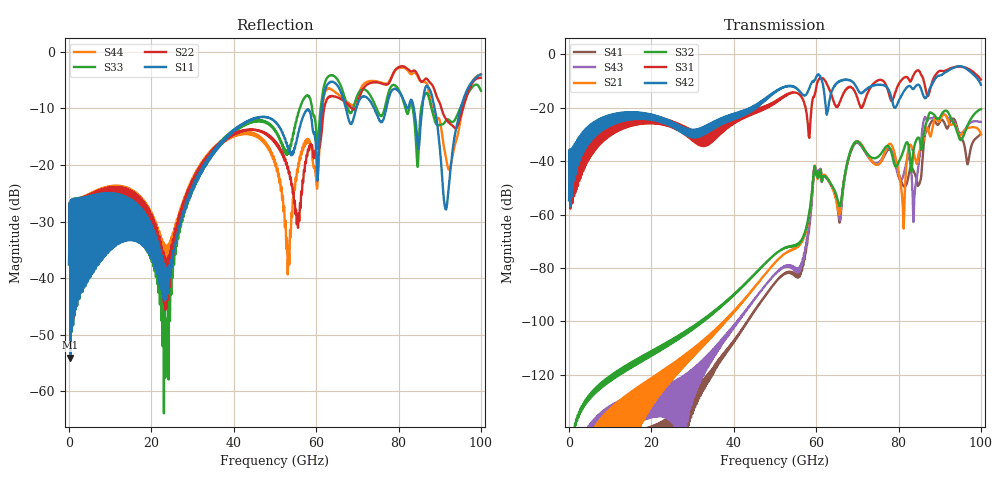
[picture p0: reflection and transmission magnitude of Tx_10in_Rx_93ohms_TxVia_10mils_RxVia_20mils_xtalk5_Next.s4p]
! Info: Touchstone file created by Circ.  Input file=Tx_10in_Rx_93ohms_TxVia_10mils_RxVia_20mils.circ
# Hz S RI R 50
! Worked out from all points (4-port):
!   10000 points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, 10 MHz to 100 GHz, reference 50 ohm
!   strongest paths, dB at 10 MHz, 25.01 GHz, 50.01 GHz, 75.01 GHz, 100 GHz:
!     S42: -54.6, -26.4, -14.0, -11.4, -11.4
!     S31: -54.6, -26.5, -17.9, -9.8, -9.5
!     S32: -178.0, -106.8, -74.9, -38.4, -20.6
!     S21: -, -116.1, -78.0, -41.4, -30.0
!     S43: -154.6, -122.8, -82.4, -40.7, -25.3
!     S41: -154.7, -137.1, -85.6, -41.1, -29.9
!   lowest |S11| = -54.1 dB at 320 MHz (marker M1), VSWR 1.00, Z = 49.8 + j0.024 ohm
!   |S11| at or under -10 dB: start of sweep to 61.39 GHz; 74.07 GHz to 77.03 GHz (2.963 GHz wide, 3.92 % of centre); 88.79 GHz to 95.1 GHz (6.316 GHz wide, 6.87 % of centre)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
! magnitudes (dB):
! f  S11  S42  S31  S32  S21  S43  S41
! 10 MHz  -37.6  -54.6  -54.6  -178.0  -  -154.6  -154.7
! 320 MHz  -54.1  -47.2  -47.3  -152.4  -182.4  -180.9  -181.4
! 23.76 GHz  -38.4  -26.2  -26.7  -108.4  -118.6  -123.9  -140.8
! 55.84 GHz  -13.9  -13.7  -15.0  -70.6  -71.5  -79.9  -82.1
! 59.8 GHz  -15.5  -9.2  -14.4  -43.7  -43.6  -43.8  -44.0
! 83.79 GHz  -10.2  -12.8  -7.4  -34.8  -37.8  -55.4  -44.2
! 100 GHz  -4.0  -11.4  -9.5  -20.6  -30.0  -25.3  -29.9
